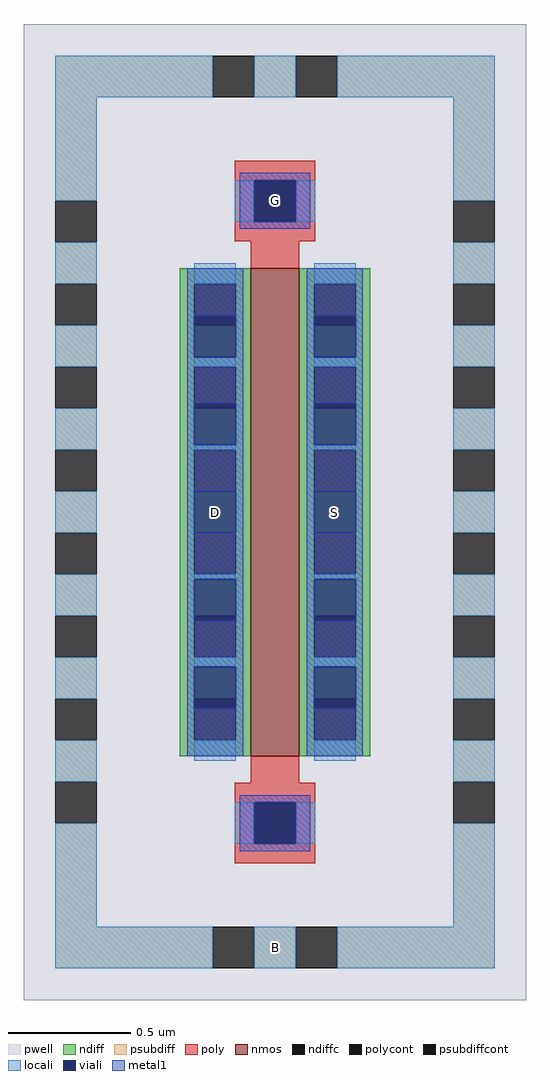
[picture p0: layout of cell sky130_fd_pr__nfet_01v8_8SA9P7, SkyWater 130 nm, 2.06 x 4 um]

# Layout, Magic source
magic
tech sky130A
magscale 1 2
<< pwell >>
rect -206 -400 206 400
<< nmos >>
rect -20 -200 20 200
<< ndiff >>
rect -78 187 -20 200
rect -78 153 -66 187
rect -32 153 -20 187
rect -78 119 -20 153
rect -78 85 -66 119
rect -32 85 -20 119
rect -78 51 -20 85
rect -78 17 -66 51
rect -32 17 -20 51
rect -78 -17 -20 17
rect -78 -51 -66 -17
rect -32 -51 -20 -17
rect -78 -85 -20 -51
rect -78 -119 -66 -85
rect -32 -119 -20 -85
rect -78 -153 -20 -119
rect -78 -187 -66 -153
rect -32 -187 -20 -153
rect -78 -200 -20 -187
rect 20 187 78 200
rect 20 153 32 187
rect 66 153 78 187
rect 20 119 78 153
rect 20 85 32 119
rect 66 85 78 119
rect 20 51 78 85
rect 20 17 32 51
rect 66 17 78 51
rect 20 -17 78 17
rect 20 -51 32 -17
rect 66 -51 78 -17
rect 20 -85 78 -51
rect 20 -119 32 -85
rect 66 -119 78 -85
rect 20 -153 78 -119
rect 20 -187 32 -153
rect 66 -187 78 -153
rect 20 -200 78 -187
<< ndiffc >>
rect -66 153 -32 187
rect -66 85 -32 119
rect -66 17 -32 51
rect -66 -51 -32 -17
rect -66 -119 -32 -85
rect -66 -187 -32 -153
rect 32 153 66 187
rect 32 85 66 119
rect 32 17 66 51
rect 32 -51 66 -17
rect 32 -119 66 -85
rect 32 -187 66 -153
<< psubdiff >>
rect -180 340 -51 374
rect -17 340 17 374
rect 51 340 180 374
rect -180 255 -146 340
rect 146 255 180 340
rect -180 187 -146 221
rect -180 119 -146 153
rect -180 51 -146 85
rect -180 -17 -146 17
rect -180 -85 -146 -51
rect -180 -153 -146 -119
rect -180 -221 -146 -187
rect 146 187 180 221
rect 146 119 180 153
rect 146 51 180 85
rect 146 -17 180 17
rect 146 -85 180 -51
rect 146 -153 180 -119
rect 146 -221 180 -187
rect -180 -340 -146 -255
rect 146 -340 180 -255
rect -180 -374 -51 -340
rect -17 -374 17 -340
rect 51 -374 180 -340
<< psubdiffcont >>
rect -51 340 -17 374
rect 17 340 51 374
rect -180 221 -146 255
rect 146 221 180 255
rect -180 153 -146 187
rect -180 85 -146 119
rect -180 17 -146 51
rect -180 -51 -146 -17
rect -180 -119 -146 -85
rect -180 -187 -146 -153
rect 146 153 180 187
rect 146 85 180 119
rect 146 17 180 51
rect 146 -51 180 -17
rect 146 -119 180 -85
rect 146 -187 180 -153
rect -180 -255 -146 -221
rect 146 -255 180 -221
rect -51 -374 -17 -340
rect 17 -374 51 -340
<< poly >>
rect -33 272 33 288
rect -33 238 -17 272
rect 17 238 33 272
rect -33 222 33 238
rect -20 200 20 222
rect -20 -222 20 -200
rect -33 -238 33 -222
rect -33 -272 -17 -238
rect 17 -272 33 -238
rect -33 -288 33 -272
<< polycont >>
rect -17 238 17 272
rect -17 -272 17 -238
<< locali >>
rect -180 340 -51 374
rect -17 340 17 374
rect 51 340 180 374
rect -180 255 -146 340
rect -33 238 -17 272
rect 17 238 33 272
rect 146 255 180 340
rect -180 187 -146 221
rect -180 119 -146 153
rect -180 51 -146 85
rect -180 -17 -146 17
rect -180 -85 -146 -51
rect -180 -153 -146 -119
rect -180 -221 -146 -187
rect -66 187 -32 204
rect -66 119 -32 127
rect -66 51 -32 55
rect -66 -55 -32 -51
rect -66 -127 -32 -119
rect -66 -204 -32 -187
rect 32 187 66 204
rect 32 119 66 127
rect 32 51 66 55
rect 32 -55 66 -51
rect 32 -127 66 -119
rect 32 -204 66 -187
rect 146 187 180 221
rect 146 119 180 153
rect 146 51 180 85
rect 146 -17 180 17
rect 146 -85 180 -51
rect 146 -153 180 -119
rect 146 -221 180 -187
rect -180 -340 -146 -255
rect -33 -272 -17 -238
rect 17 -272 33 -238
rect 146 -340 180 -255
rect -180 -374 -51 -340
rect -17 -374 17 -340
rect 51 -374 180 -340
<< viali >>
rect -17 238 17 272
rect -66 153 -32 161
rect -66 127 -32 153
rect -66 85 -32 89
rect -66 55 -32 85
rect -66 -17 -32 17
rect -66 -85 -32 -55
rect -66 -89 -32 -85
rect -66 -153 -32 -127
rect -66 -161 -32 -153
rect 32 153 66 161
rect 32 127 66 153
rect 32 85 66 89
rect 32 55 66 85
rect 32 -17 66 17
rect 32 -85 66 -55
rect 32 -89 66 -85
rect 32 -153 66 -127
rect 32 -161 66 -153
rect -17 -272 17 -238
<< metal1 >>
rect -29 272 29 278
rect -29 238 -17 272
rect 17 238 29 272
rect -29 232 29 238
rect -72 161 -26 200
rect -72 127 -66 161
rect -32 127 -26 161
rect -72 89 -26 127
rect -72 55 -66 89
rect -32 55 -26 89
rect -72 17 -26 55
rect -72 -17 -66 17
rect -32 -17 -26 17
rect -72 -55 -26 -17
rect -72 -89 -66 -55
rect -32 -89 -26 -55
rect -72 -127 -26 -89
rect -72 -161 -66 -127
rect -32 -161 -26 -127
rect -72 -200 -26 -161
rect 26 161 72 200
rect 26 127 32 161
rect 66 127 72 161
rect 26 89 72 127
rect 26 55 32 89
rect 66 55 72 89
rect 26 17 72 55
rect 26 -17 32 17
rect 66 -17 72 17
rect 26 -55 72 -17
rect 26 -89 32 -55
rect 66 -89 72 -55
rect 26 -127 72 -89
rect 26 -161 32 -127
rect 66 -161 72 -127
rect 26 -200 72 -161
rect -29 -238 29 -232
rect -29 -272 -17 -238
rect 17 -272 29 -238
rect -29 -278 29 -272
<< labels >>
rlabel locali s 0 -357 0 -357 4 B
rlabel locali s -49 0 -49 0 4 D
rlabel locali s 49 0 49 0 4 S
rlabel locali s 0 255 0 255 4 G
<< properties >>
string FIXED_BBOX -163 -357 163 357
<< end >>
